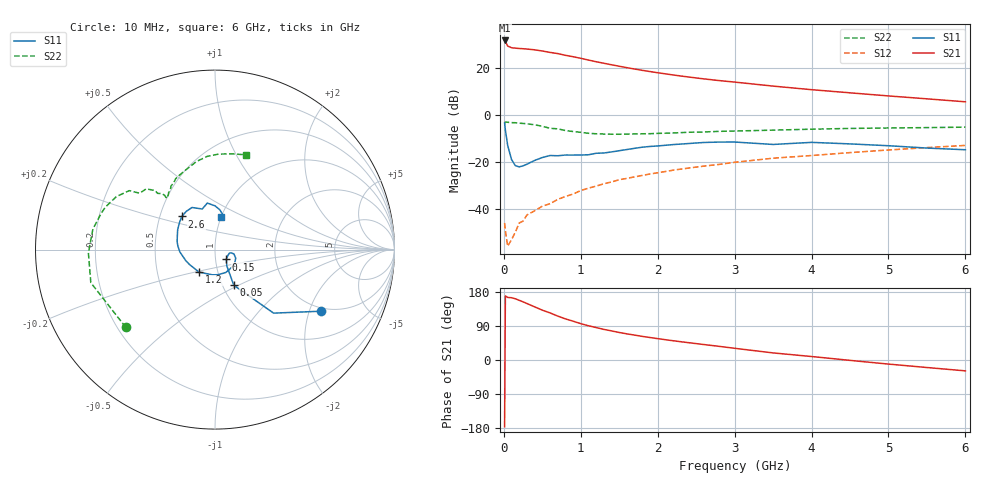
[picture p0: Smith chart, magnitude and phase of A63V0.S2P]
! (c) 1999  Infineon Technologies AG, Munich
! Infineon Technologies  Discrete & RF Semiconductors
! BGA427
! Si NPN RF SIEGET Grounded Emitter Transistor in SOT343
! VCE =  IC =
! Common Emitter S-Parameters:  November  1999
# GHz  S  MA  R  50
!  f  S11  S21  S12  S22
! GHz  MAG  ANG  MAG  ANG  MAG  ANG  MAG  ANG
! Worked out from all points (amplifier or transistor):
!   36 points, 10 MHz to 6 GHz, reference 50 ohm
!   highest |S21| = 31.9 dB at 10 MHz (marker M1)
!   |S21| within 3 dB of that: start of sweep to 92.37 MHz
!   unconditionally stable (mu >= 1): 18.32 MHz to end of sweep
!   at 250 MHz: K = 1.98, MAG = 31.1 dB, |S12| = -45.2 dB
!   at 1.4 GHz: K = 1.21, MAG = 22.3 dB, |S12| = -28.5 dB
!   at 6 GHz: K = 1.06, MAG = 7.8 dB, |S12| = -12.9 dB
!   S11 on the Smith chart (normalised r, x): 10 MHz: 1.87, -2.41; 50 MHz: 1.13, -0.47; 150 MHz: 1.13, -0.12; 1.2 GHz: 0.81, -0.21; 2.6 GHz: 0.65, +0.26; 6 GHz: 1.00, +0.37
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0.01  0.6843 -30.1  39.31 -176.3  0.005 -10.1  0.6594 -138.9
0.02  0.4817 -47.3  37.28 169.1  0.0034 -35.4  0.716 -165.1
0.05  0.2251 -62.2  29.87 165.2  0.0016 -21.8  0.7056 -178.5
0.1  0.1132 -54.2  27.48 164.3  0.0022 56.7  0.6926 174.4
0.15  0.0835 -41.1  26.96 161.6  0.0032 71.0  0.6899 170.4
0.25  0.0829 -13.6  26.19 153.5  0.0055 75.8  0.6656 162.2
0.4  0.1081 -12.8  24.82 140.3  0.0091 78.3  0.6242 151.8
0.5  0.1247 -22.3  23.45 131.5  0.0114 84.8  0.5799 145.5
0.7  0.1361 -51.2  20.64 115.9  0.0159 87.8  0.5114 138.6
0.8  0.1409 -64.7  18.97 108.6  0.0184 89.5  0.4694 135.4
0.9  0.1408 -83.0  17.66 102.4  0.0207 92.7  0.4478 135.6
1.1  0.1428 -111.4  15 90.3  0.0277 91.6  0.4104 132.8
1.2  0.1538 -125.4  13.83 85.6  0.0306 91.7  0.4009 133.2
1.4  0.1643 -149.2  11.9 76.8  0.0375 91.5  0.3922 133.2
1.6  0.1849 -169.5  10.31 69.0  0.0448 89.0  0.3947 131.9
1.9  0.2149 168.8  8.53 59.3  0.0555 86.7  0.4023 130.2
2.2  0.2356 152.0  7.211 50.8  0.0669 84.5  0.4164 126.6
2.6  0.2614 135.0  5.951 40.8  0.0818 81.2  0.4379 121.5
3.5  0.2371 107.4  4.171 18.7  0.1207 70.5  0.4791 108.0
4.5  0.2438 89.9  2.999 -1.0  0.1589 61.0  0.5213 94.8
5.5  0.1986 77.4  2.232 -19.8  0.2032 49.4  0.5426 79.3
6  0.1828 78.8  1.928 -28.7  0.2264 42.6  0.555 72.1
